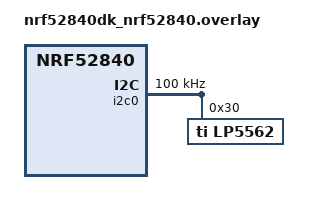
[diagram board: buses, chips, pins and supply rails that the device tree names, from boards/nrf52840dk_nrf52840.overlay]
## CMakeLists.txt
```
# SPDX-License-Identifier: Apache-2.0

cmake_minimum_required(VERSION 3.13.1)

find_package(Zephyr REQUIRED HINTS $ENV{ZEPHYR_BASE})
project(led_lp5562)

FILE(GLOB app_sources src/*.c)
target_sources(app PRIVATE ${app_sources})
```

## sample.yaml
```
sample:
  description: Demonstration of the LP5562 LED driver
  name: LP5562 sample
tests:
  sample.drivers.led.lp5562:
    platform_allow: nrf52840dk_nrf52840
    tags: led
    harness: TBD
```

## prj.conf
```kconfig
CONFIG_LOG=y
CONFIG_I2C=y
CONFIG_LED=y
CONFIG_LP5562=y
```

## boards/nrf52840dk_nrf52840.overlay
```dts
/* SPDX-License-Identifier: Apache-2.0 */

&i2c0 {
	status = "okay";
	clock-frequency = <I2C_BITRATE_STANDARD>;

	lp5562@30 {
		compatible = "ti,lp5562";
		reg = <0x30>;
		label = "LP5562";
	};
};
```

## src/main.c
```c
/*
 * Copyright (c) 2018 Workaround GmbH
 *
 * SPDX-License-Identifier: Apache-2.0
 */

#include <device.h>
#include <errno.h>
#include <drivers/led.h>
#include <sys/util.h>
#include <zephyr.h>

#define LOG_LEVEL 4
#include <logging/log.h>
LOG_MODULE_REGISTER(main);

#define LED_DEV_NAME DT_LABEL(DT_INST(0, ti_lp5562))
#define NUM_LEDS 4
#define BLINK_DELAY_ON 500
#define BLINK_DELAY_OFF 500
#define DELAY_TIME 2000
#define COLORS_TO_SHOW 8
#define VALUES_PER_COLOR 3

/*
 * We assume that the colors are connected the way it is described in the driver
 * datasheet.
 */
#define LED_R 2
#define LED_G 1
#define LED_B 0

/*
 * The following colors are shown in the given order.
 */
static uint8_t colors[COLORS_TO_SHOW][VALUES_PER_COLOR] = {
	{ 0xFF, 0x00, 0x00 }, /*< Red    */
	{ 0x00, 0xFF, 0x00 }, /*< Green  */
	{ 0x00, 0x00, 0xFF }, /*< Blue   */
	{ 0xFF, 0xFF, 0xFF }, /*< White  */
	{ 0xFF, 0xFF, 0x00 }, /*< Yellow */
	{ 0xFF, 0x00, 0xFF }, /*< Purple */
	{ 0x00, 0xFF, 0xFF }, /*< Cyan   */
	{ 0xF4, 0x79, 0x20 }, /*< Orange */
};

/*
 * @brief scale hex values [0x00..0xFF] to percent [0..100].
 *
 * @param hex Hex value.
 *
 * @return Hex value scaled to percent.
 */
static inline uint8_t scale_color_to_percent(uint8_t hex)
{
	return (hex * 100U) / 0xFF;
}

/*
 * @brief Set a color using the three RGB LEDs.
 *
 * @param dev LED device.
 * @param r Red value in hex [0x00..0xFF].
 * @param g Green value in hex [0x00..0xFF].
 * @param b Blue value in hex [0x00..0xFF].
 *
 * @return 0 if successful, -ERRNO otherwise.
 */
static int set_static_color(const struct device *dev, uint8_t r, uint8_t g,
			    uint8_t b)
{
	int ret;

	r = scale_color_to_percent(r);
	g = scale_color_to_percent(g);
	b = scale_color_to_percent(b);

	ret = led_set_brightness(dev, LED_R, r);
	if (ret) {
		LOG_ERR("Failed to set color.");
		return ret;
	}

	ret = led_set_brightness(dev, LED_G, g);
	if (ret) {
		LOG_ERR("Failed to set color.");
		return ret;
	}

	ret = led_set_brightness(dev, LED_B, b);
	if (ret) {
		LOG_ERR("Failed to set color.");
		return ret;
	}

	return 0;
}

/*
 * @brief Blink the LED in the given color.
 *
 * Currently it is only possible to create colors by turning the three LEDs
 * completely on or off. Proper mixing is not supported by the underlying API.
 *
 * @param dev LED device.
 * @param r Blink the red LED.
 * @param g Blink the green LED.
 * @param b Blink the blue LED.
 * @param delay_on Time in ms the LEDs stay on.
 * @param delay_off Time in ms the LEDs stay off.
 *
 * @return 0 if successful, -ERRNO otherwise.
 */
static int blink_color(const struct device *dev, bool r, bool g, bool b,
		       uint32_t delay_on, uint32_t delay_off)
{
	int ret;

	if (r) {
		ret = led_blink(dev, LED_R, delay_on, delay_off);
		if (ret) {
			LOG_ERR("Failed to set color.");
			return ret;
		}
	}

	if (g) {
		ret = led_blink(dev, LED_G, delay_on, delay_off);
		if (ret) {
			LOG_ERR("Failed to set color.");
			return ret;
		}
	}

	if (b) {
		ret = led_blink(dev, LED_B, delay_on, delay_off);
		if (ret) {
			LOG_ERR("Failed to set color.");
			return ret;
		}
	}

	return 0;
}

/*
 * @brief Helper function to turn off all LEDs connected to the driver.
 *
 * @param dev LED driver device.
 *
 * @return 0 if successful, -ERRNO otherwise.
 */
static int turn_off_all_leds(const struct device *dev)
{
	for (int i = 0; i < NUM_LEDS; i++) {
		int ret = led_off(dev, i);

		if (ret) {
			return ret;
		}
	}

	return 0;
}

void main(void)
{
	const struct device *dev;
	int i, ret;

	dev = device_get_binding(LED_DEV_NAME);
	if (dev) {
		LOG_INF("Found LED device %s", LED_DEV_NAME);
	} else {
		LOG_ERR("LED device %s not found", LED_DEV_NAME);
		return;
	}

	LOG_INF("Testing leds");

	while (1) {

		for (i = 0; i < COLORS_TO_SHOW; i++) {
			ret = set_static_color(dev,
					colors[i][0],
					colors[i][1],
					colors[i][2]);
			if (ret) {
				return;
			}

			k_msleep(DELAY_TIME);
		}

		ret = turn_off_all_leds(dev);
		if (ret < 0) {
			return;
		}

		/* Blink white. */
		ret = blink_color(dev, true, true, true, BLINK_DELAY_ON,
				BLINK_DELAY_OFF);
		if (ret) {
			return;
		}

		/* Wait a few blinking before turning off the LEDs */
		k_msleep(DELAY_TIME * 2);

		/* Change the color of the LEDs while keeping blinking. */
		for (i = 0; i < COLORS_TO_SHOW; i++) {
			ret = set_static_color(dev,
					colors[i][0],
					colors[i][1],
					colors[i][2]);
			if (ret) {
				return;
			}

			k_msleep(DELAY_TIME * 2);
		}

		ret = turn_off_all_leds(dev);
		if (ret < 0) {
			return;
		}

		k_msleep(DELAY_TIME);
	}
}
```
